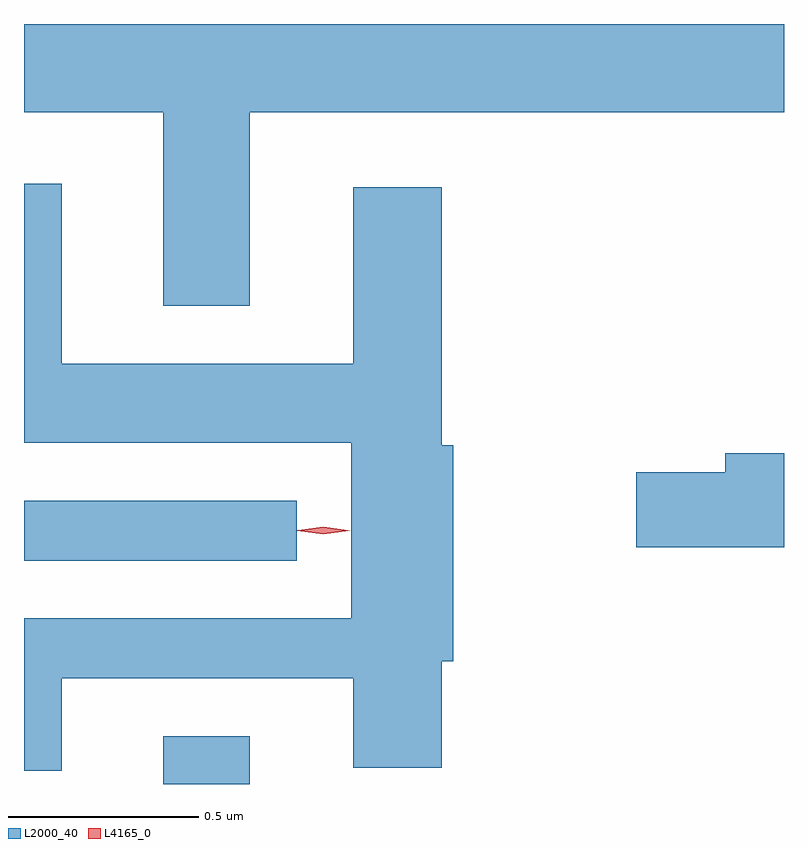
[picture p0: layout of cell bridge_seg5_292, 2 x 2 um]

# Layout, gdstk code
import gdstk
lib = gdstk.Library(unit=1e-6, precision=1e-09)
def R(c, l, rs):  # rectangles x0, y0, x1, y1
    for r in rs: c.add(gdstk.rectangle(r[:2], r[2:], *l))
def P(c, l, *ps):  # polygons
    for p in ps: c.add(gdstk.Polygon(p, *l))
L2000_40 = (2000, 40)
L4165_0 = (4165, 0)

bridge_seg5_292 = lib.new_cell('bridge_seg5_292')
R(bridge_seg5_292, L2000_40, [(929.971,1481.668,930.199,1481.794), (929.605,1482.256,930.323,1482.414)])
P(bridge_seg5_292, L2000_40, [(930.199,1483.436),(931.605,1483.436),(931.605,1483.668),(929.605,1483.668),(929.605,1483.436),(929.971,1483.436),(929.971,1482.926),(930.199,1482.926)],
  [(929.704,1481.946),(930.471,1481.946),(930.471,1481.711),(930.704,1481.711),(930.704,1481.991),(930.734,1481.991),(930.734,1482.559),(930.704,1482.559),(930.704,1483.239),(930.471,1483.239),(930.471,1482.774),(929.704,1482.774),(929.704,1483.248),(929.605,1483.248),(929.605,1482.566),(930.466,1482.566),(930.466,1482.104),(929.605,1482.104),(929.605,1481.703),(929.704,1481.703)],
  [(931.605,1482.539),(931.451,1482.539),(931.451,1482.489),(931.216,1482.489),(931.216,1482.291),(931.605,1482.291)])
P(bridge_seg5_292, L4165_0, [(930.392,1482.325),(930.327,1482.334),(930.327,1482.335),(930.327,1482.336),(930.392,1482.345),(930.457,1482.336),(930.457,1482.335),(930.457,1482.334)],
  [(930.393,1482.325),(930.324,1482.334),(930.324,1482.335),(930.324,1482.336),(930.393,1482.344),(930.461,1482.335),(930.462,1482.334),(930.461,1482.334)])

lib.write_gds('bridge_seg5_292.gds')
